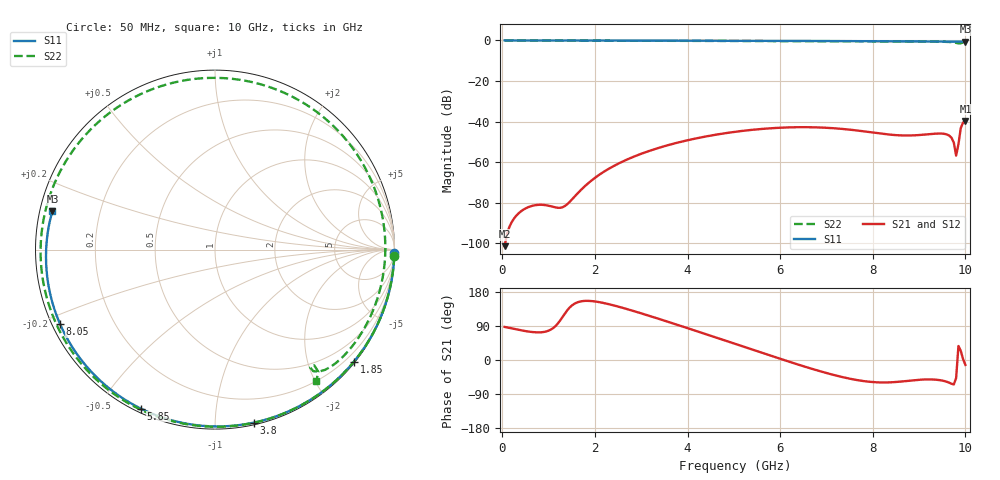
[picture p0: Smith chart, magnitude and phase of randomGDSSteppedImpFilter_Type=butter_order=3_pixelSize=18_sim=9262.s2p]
! freq	dB(S11)	phase(S11)	dB(S12)	phase(S12)
!  dB(S21)	phase(S21)	dB(S22)	phase(S22)
!S-par simulation data
#  GHz  S  DB  R 50
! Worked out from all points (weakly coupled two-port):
!   200 points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, 50 MHz to 10 GHz, reference 50 ohm
!   highest |S21| = -39.72 dB at 10 GHz (marker M1); lowest = -101.4 dB at 50 MHz (marker M2)
!   lowest |S11| = -0.6 dB at 10 GHz (marker M3), VSWR 27.79, Z = 1.82 + j5.81 ohm
!   |S11| at or under -10 dB: nowhere
!   |S22| runs from -1.5 to 0.0 dB; largest |S21 - S12| = 0
!   S11 on the Smith chart (normalised r, x): 50 MHz: open; 1.85 GHz: 0.03, -2.83; 3.8 GHz: 0.02, -1.25; 5.85 GHz: 0.02, -0.64; 8.05 GHz: 0.02, -0.23; 10 GHz: 0.04, +0.12
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0.05  -0.00 -1.1  -101.40 87.3  -101.40 87.3  -0.01 -2.1
0.7  -0.02 -14.9  -81.25 73.2  -81.25 73.2  -0.03 -28.6
1.4  -0.04 -29.6  -80.76 130.8  -80.76 130.8  -0.07 -56.5
1.75  -0.05 -36.9  -72.53 155.7  -72.53 155.7  -0.09 -70.2
1.85  -0.05 -38.9  -70.47 156.1  -70.47 156.1  -0.09 -74.1
2.6  -0.07 -54.1  -59.67 137.7  -59.67 137.7  -0.13 -102.8
3.4  -0.09 -69.8  -52.79 107.8  -52.79 107.8  -0.17 -133.0
3.8  -0.11 -77.4  -50.28 92.1  -50.28 92.1  -0.20 -148.2
4.45  -0.13 -89.6  -47.10 66.0  -47.10 66.0  -0.24 -173.5
5.05  -0.16 -100.6  -44.96 41.6  -44.96 41.6  -0.28 162.0
5.85  -0.20 -114.9  -43.21 9.2  -43.21 9.2  -0.34 127.0
6.7  -0.25 -130.0  -42.79 -23.8  -42.79 -23.8  -0.38 87.1
7.3  -0.30 -140.7  -43.52 -43.8  -43.52 -43.8  -0.41 57.9
8.05  -0.37 -154.3  -45.53 -58.7  -45.53 -58.7  -0.43 22.2
8.35  -0.41 -159.8  -46.37 -59.1  -46.37 -59.1  -0.44 8.5
8.95  -0.48 -171.3  -46.70 -52.7  -46.70 -52.7  -0.49 -17.4
9.6  -0.56 175.5  -46.33 -57.5  -46.33 -57.5  -0.70 -43.5
9.75  -0.58 172.3  -50.36 -64.5  -50.36 -64.5  -0.97 -49.5
9.8  -0.59 171.2  -56.73 -47.4  -56.73 -47.4  -1.19 -51.0
9.85  -0.60 170.1  -51.20 37.0  -51.20 37.0  -1.47 -51.1
9.9  -0.61 169.0  -43.21 24.2  -43.21 24.2  -1.42 -49.4
10  -0.63 166.7  -39.72 -12.8  -39.72 -12.8  -0.70 -52.3
